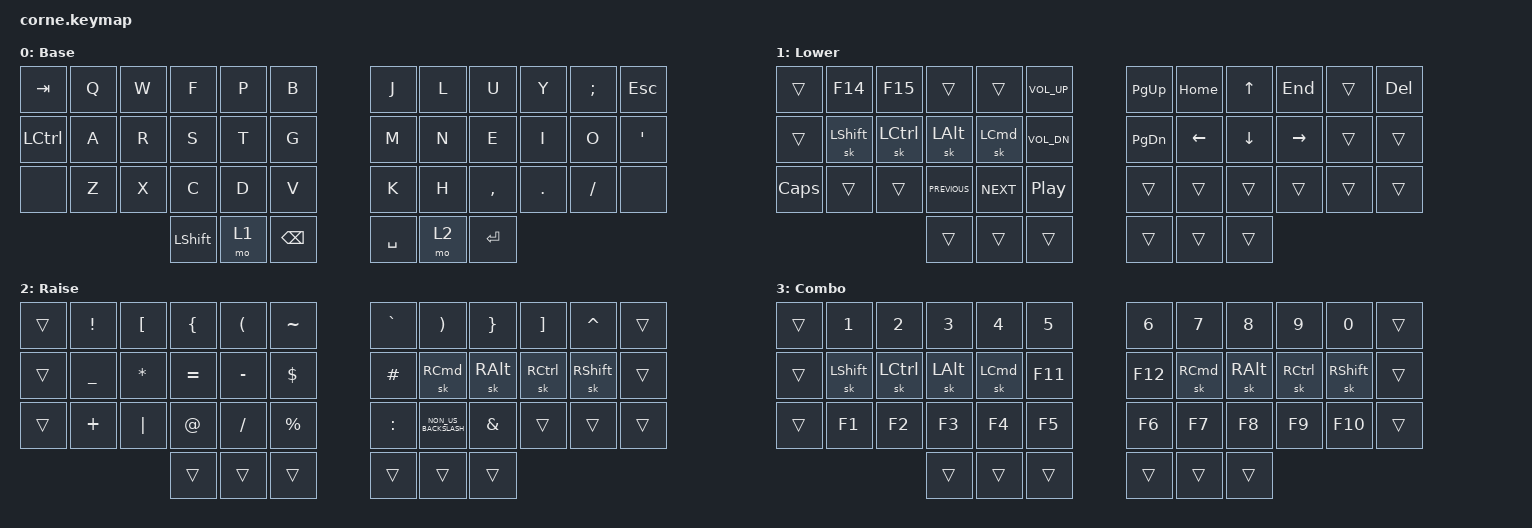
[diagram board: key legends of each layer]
#include <behaviors.dtsi>
#include <dt-bindings/zmk/bt.h>
#include <dt-bindings/zmk/keys.h>

&sk { release-after-ms = <4000>; };

/ {
    combos { compatible = "zmk,combos"; };
    keymap {
        compatible = "zmk,keymap";

        default_layer {
            display-name = "Base";
            bindings = <
&kp TAB           &kp Q  &kp W  &kp F           &kp P  &kp B            &kp J      &kp L  &kp U      &kp Y    &kp SEMICOLON  &kp ESCAPE
&kp LEFT_CONTROL  &kp A  &kp R  &kp S           &kp T  &kp G            &kp M      &kp N  &kp E      &kp I    &kp O          &kp SINGLE_QUOTE
&none             &kp Z  &kp X  &kp C           &kp D  &kp V            &kp K      &kp H  &kp COMMA  &kp DOT  &kp FSLH       &none
                                &kp LEFT_SHIFT  &mo 1  &kp BACKSPACE    &kp SPACE  &mo 2  &kp ENTER
            >;
        };

        lower_layer {
            bindings = <
&trans    &kp F14         &kp F15           &trans          &trans            &kp C_VOL_UP        &kp PAGE_UP    &kp HOME        &kp UP_ARROW    &kp END          &trans  &kp DEL
&trans    &sk LEFT_SHIFT  &sk LEFT_CONTROL  &sk LEFT_ALT    &sk LEFT_COMMAND  &kp C_VOL_DN        &kp PAGE_DOWN  &kp LEFT_ARROW  &kp DOWN_ARROW  &kp RIGHT_ARROW  &trans  &trans
&kp CAPS  &trans          &trans            &kp C_PREVIOUS  &kp C_NEXT        &kp C_PLAY_PAUSE    &trans         &trans          &trans          &trans           &trans  &trans
                                            &trans          &trans            &trans              &trans         &trans          &trans
            >;

            label = "Lower";
        };

        raise_layer {
            bindings = <
&trans  &kp EXCLAMATION  &kp LEFT_BRACKET  &kp LEFT_BRACE  &kp LEFT_PARENTHESIS  &kp TILDE      &kp GRAVE  &kp RIGHT_PARENTHESIS  &kp RIGHT_BRACE  &kp RIGHT_BRACKET  &kp CARET        &trans
&trans  &kp UNDER        &kp ASTERISK      &kp EQUAL       &kp MINUS             &kp DOLLAR     &kp HASH   &sk RIGHT_COMMAND      &sk RIGHT_ALT    &sk RIGHT_CONTROL  &sk RIGHT_SHIFT  &trans
&trans  &kp PLUS         &kp PIPE          &kp AT_SIGN     &kp FSLH              &kp PERCENT    &kp COLON  &kp NON_US_BACKSLASH   &kp AMPERSAND    &trans             &trans           &trans
                                           &trans          &trans                &trans         &trans     &trans                 &trans
            >;

            label = "Raise";
        };

        combo_layer {
            bindings = <
&trans  &kp N1          &kp N2            &kp N3        &kp N4            &kp N5     &kp N6   &kp N7             &kp N8         &kp N9             &kp N0           &trans
&trans  &sk LEFT_SHIFT  &sk LEFT_CONTROL  &sk LEFT_ALT  &sk LEFT_COMMAND  &kp F11    &kp F12  &sk RIGHT_COMMAND  &sk RIGHT_ALT  &sk RIGHT_CONTROL  &sk RIGHT_SHIFT  &trans
&trans  &kp F1          &kp F2            &kp F3        &kp F4            &kp F5     &kp F6   &kp F7             &kp F8         &kp F9             &kp F10          &trans
                                          &trans        &trans            &trans     &trans   &trans             &trans
            >;

            label = "Combo";
        };
    };

    conditional_layers {
        compatible = "zmk,conditional-layers";

        Combo {
            if-layers = <1 2>;
            then-layer = <3>;
        };
    };
};
